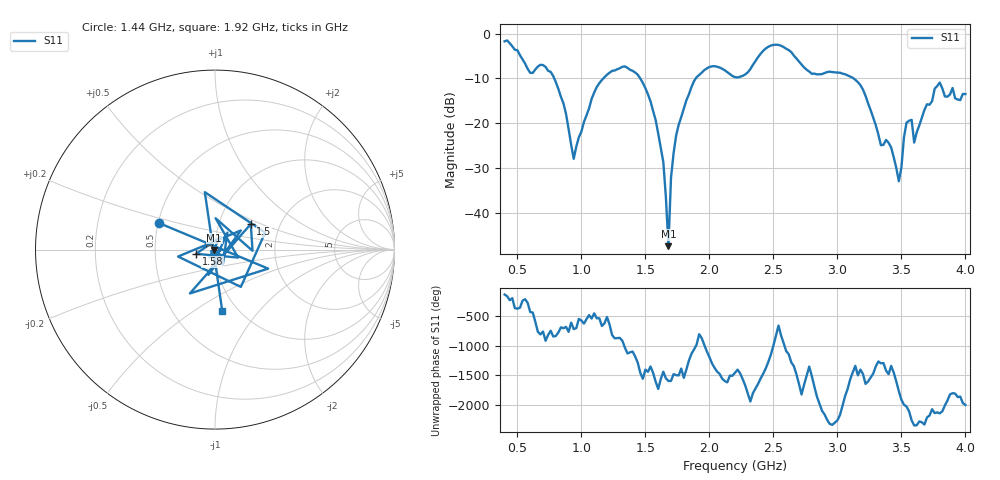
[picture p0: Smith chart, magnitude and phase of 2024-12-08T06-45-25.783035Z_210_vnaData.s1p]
!Created with skrf (http://scikit-rf.org).
# Hz S RI R 50.0
!freq ReS11 ImS11
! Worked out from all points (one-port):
!   181 points, 400 MHz to 4 GHz, reference 50 ohm
!   lowest |S11| = -47.5 dB at 1.68 GHz (marker M1), VSWR 1.01, Z = 49.6 - j0.16 ohm
!   |S11| at or under -10 dB: 787.4 MHz to 1.172 GHz (384.7 MHz wide, 39.3 % of centre); 1.459 GHz to 1.894 GHz (435.2 MHz wide, 26 % of centre); 3.126 GHz to end of sweep
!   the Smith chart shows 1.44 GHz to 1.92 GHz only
!   S11 on the Smith chart (normalised r, x): 1.44 GHz: 0.50, +0.17; 1.5 GHz: 1.42, +0.43; 1.58 GHz: 0.81, -0.04; 1.92 GHz: 0.85, -0.66
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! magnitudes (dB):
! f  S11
! 400 MHz  -1.7
! 600 MHz  -8.8
! 760 MHz  -8.6
! 860 MHz  -15.6
! 940 MHz  -28.0
! 1.12 GHz  -11.9
! 1.3 GHz  -7.7
! 1.44 GHz  -9.2
! 1.5 GHz  -12.2
! 1.58 GHz  -19.3
! 1.64 GHz  -28.7
! 1.68 GHz  -47.5
! 1.7 GHz  -32.2
! 1.76 GHz  -20.4
! 1.92 GHz  -9.2
! 2.2 GHz  -9.7
! 2.48 GHz  -2.7
! 2.66 GHz  -4.9
! 3.1 GHz  -9.6
! 3.2 GHz  -12.5
! 3.34 GHz  -25.0
! 3.42 GHz  -25.5
! 3.48 GHz  -33.0
! 3.52 GHz  -23.2
! 3.56 GHz  -19.5
! 3.6 GHz  -24.4
! 3.8 GHz  -11.0
! 4 GHz  -13.5
